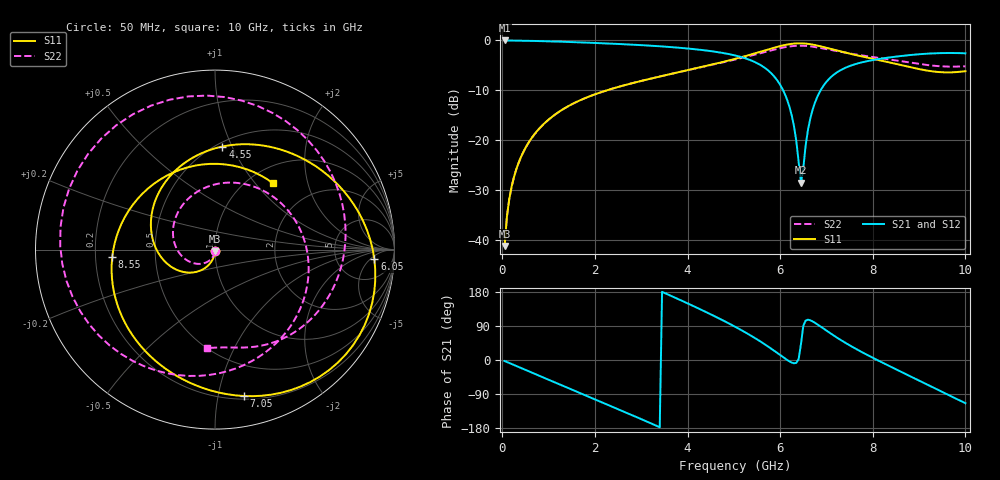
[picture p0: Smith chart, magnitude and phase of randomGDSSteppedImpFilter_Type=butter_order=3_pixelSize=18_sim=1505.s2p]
! freq	dB(S11)	phase(S11)	dB(S12)	phase(S12)
!  dB(S21)	phase(S21)	dB(S22)	phase(S22)
!S-par simulation data
#  GHz  S  DB  R 50
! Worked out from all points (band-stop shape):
!   200 points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, 50 MHz to 10 GHz, reference 50 ohm
!   highest |S21| = 0.00 dB at 50 MHz (marker M1); lowest = -28.6 dB at 6.45 GHz (marker M2)
!   |S21| within 3 dB of the highest: start of sweep to 5.022 GHz; 8.729 GHz to end of sweep
!   lowest |S11| = -41.3 dB at 50 MHz (marker M3), VSWR 1.02, Z = 50 - j0.863 ohm
!   |S11| at or under -10 dB: start of sweep to 2.262 GHz
!   |S22| runs from -41.3 to -1.1 dB; largest |S21 - S12| = 0
!   S11 on the Smith chart (normalised r, x): 50 MHz: 1.00, -0.02; 4.55 GHz: 0.54, +0.92; 6.05 GHz: 14, -7; 7.05 GHz: 0.23, -1.19; 8.55 GHz: 0.27, -0.03; 10 GHz: 1.28, +1.24
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0.05  -41.27 -91.0  -0.00 -2.7  -0.00 -2.7  -41.29 -91.6
0.1  -35.34 -93.4  -0.01 -5.3  -0.01 -5.3  -35.36 -95.9
0.2  -29.39 -97.8  -0.02 -10.5  -0.02 -10.5  -29.42 -103.1
0.5  -21.58 -110.1  -0.07 -26.1  -0.07 -26.1  -21.60 -123.1
1.15  -14.79 -135.3  -0.22 -59.7  -0.22 -59.7  -14.81 -165.9
1.75  -11.73 -157.7  -0.41 -90.7  -0.41 -90.7  -11.73 154.5
2.65  -8.96 168.9  -0.77 -137.5  -0.77 -137.5  -8.96 94.3
3.4  -7.24 139.1  -1.17 -177.4  -1.17 -177.4  -7.24 44.4
3.95  -6.08 114.9  -1.57 152.3  -1.57 152.3  -6.09 8.3
4.55  -4.79 85.9  -2.20 117.6  -2.20 117.6  -4.86 -31.8
5.05  -3.64 59.4  -3.07 86.3  -3.07 86.3  -3.79 -68.1
5.6  -2.20 27.3  -5.07 46.8  -5.07 46.8  -2.50 -116.4
6.05  -1.02 -3.4  -9.74 8.7  -9.74 8.7  -1.46 -168.1
6.3  -0.63 -22.8  -17.27 -8.7  -17.27 -8.7  -1.10 157.5
6.45  -0.58 -34.8  -28.58 42.8  -28.58 42.8  -1.05 135.7
6.7  -0.83 -54.3  -13.93 102.0  -13.93 102.0  -1.25 99.9
7.05  -1.60 -78.8  -7.78 73.3  -7.78 73.3  -1.85 55.3
7.55  -2.77 -109.6  -4.97 35.3  -4.97 35.3  -2.70 6.9
8.35  -4.39 -160.9  -3.43 -15.5  -3.43 -15.5  -3.81 -43.4
8.55  -4.82 -175.7  -3.19 -27.5  -3.19 -27.5  -4.10 -52.5
9.35  -6.28 113.4  -2.58 -75.2  -2.58 -75.2  -5.11 -79.2
10  -6.17 48.8  -2.58 -113.9  -2.58 -113.9  -5.19 -94.9
